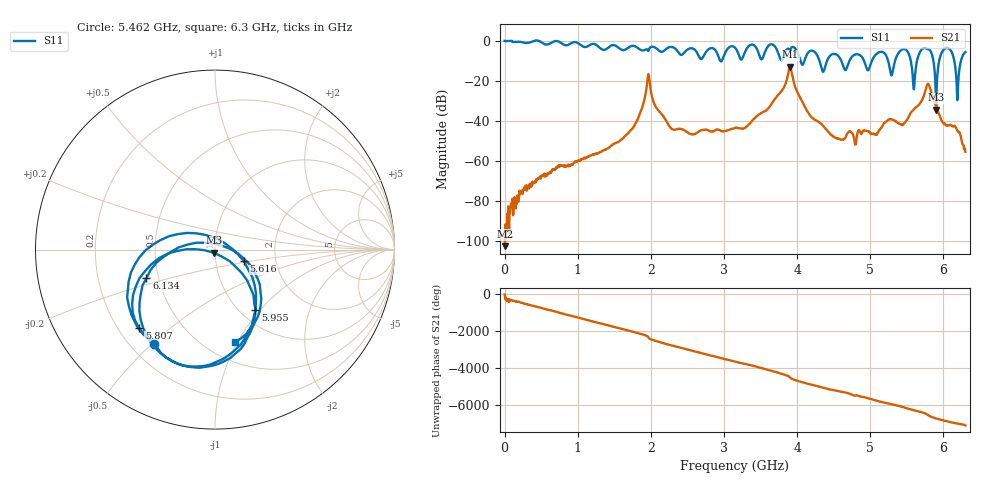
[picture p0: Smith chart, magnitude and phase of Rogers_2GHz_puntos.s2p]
! NanoVNA-App
! Date: 2025-10-01 20:26:19
! Start: 100kHz Stop: 6.3GHz Points: 1024
! S-Parameter data: F S11 S21 S12 S22
# Hz S RI R 50
!  Frequency  S11_Real  S11_Imag  S21_Real  S21_Imag  S12_Real  S12_Imag  S22_Real  S22_Imag
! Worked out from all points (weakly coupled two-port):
!   1024 points, 100 kHz to 6.3 GHz, reference 50 ohm
!   highest |S21| = -12.77 dB at 3.904 GHz (marker M1); lowest = -102.3 dB at 6.258 MHz (marker M2)
!   lowest |S11| = -34.3 dB at 5.9 GHz (marker M3), VSWR 1.04, Z = 49.2 - j1.76 ohm
!   |S11| at or under -10 dB: 4.306 GHz to 4.408 GHz (102.2 MHz wide, 2.35 % of centre); 4.605 GHz to 4.714 GHz (109.2 MHz wide, 2.34 % of centre); 4.915 GHz to 5.021 GHz (105.6 MHz wide, 2.13 % of centre)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
!   S12 and S22 are empty: the file has one direction only
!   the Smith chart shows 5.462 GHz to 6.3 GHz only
!   S11 on the Smith chart (normalised r, x): 5.462 GHz: 0.30, -0.51; 5.616 GHz: 1.37, -0.18; 5.807 GHz: 0.28, -0.39; 5.955 GHz: 1.17, -0.94; 6.134 GHz: 0.43, -0.16; 6.3 GHz: 0.68, -0.98
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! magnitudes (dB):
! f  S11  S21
! 100 kHz  0.0  -97.1
! 6.258 MHz  0.0  -102.3
! 1.053 GHz  -2.4  -58.8
! 1.724 GHz  -2.6  -44.4
! 1.965 GHz  -5.0  -16.5
! 2.1 GHz  -4.5  -34.5
! 2.556 GHz  -3.7  -46.6
! 3.153 GHz  -3.5  -43.4
! 3.597 GHz  -2.9  -33.9
! 3.904 GHz  -4.3  -12.8
! 4.206 GHz  -4.8  -38.3
! 4.354 GHz  -15.4  -42.3
! 4.606 GHz  -10.2  -49.3
! 5.253 GHz  -11.3  -39.1
! 5.462 GHz  -4.1  -41.1
! 5.616 GHz  -15.2  -33.2
! 5.807 GHz  -4.3  -22.5
! 5.9 GHz  -34.3  -32.7
! 5.955 GHz  -7.8  -37.9
! 6.134 GHz  -7.7  -42.7
! 6.195 GHz  -26.4  -44.8
! 6.3 GHz  -5.5  -55.2
